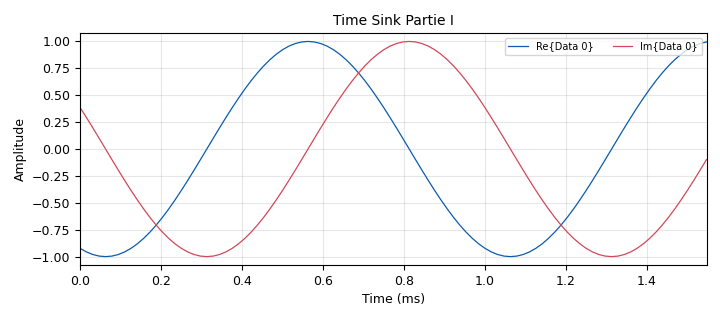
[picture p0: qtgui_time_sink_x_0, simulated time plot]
options:
  parameters:
    generate_options: qt_gui
    id: Test
    output_language: python
    title: Not titled yet
  states: {}

blocks:
- name: samp_rate
  id: variable
  parameters:
    value: '32000'
  states: {}
- name: analog_sig_source_x_0
  id: analog_sig_source_x
  parameters:
    amp: '1'
    freq: '1000'
    offset: '0'
    phase: '0'
    samp_rate: '64000'
    type: complex
    waveform: analog.GR_COS_WAVE
  states: {}
- name: blocks_throttle2_0
  id: blocks_throttle2
  parameters:
    samples_per_second: '64000'
    type: complex
  states: {}
- name: qtgui_time_sink_x_0
  id: qtgui_time_sink_x
  parameters:
    name: Time Sink Partie I
    size: '100'
    srate: '64000'
    type: complex
  states: {}

connections:
- [analog_sig_source_x_0, '0', blocks_throttle2_0, '0']
- [blocks_throttle2_0, '0', qtgui_time_sink_x_0, '0']

metadata:
  file_format: 1
  grc_version: 3.10.12.0
